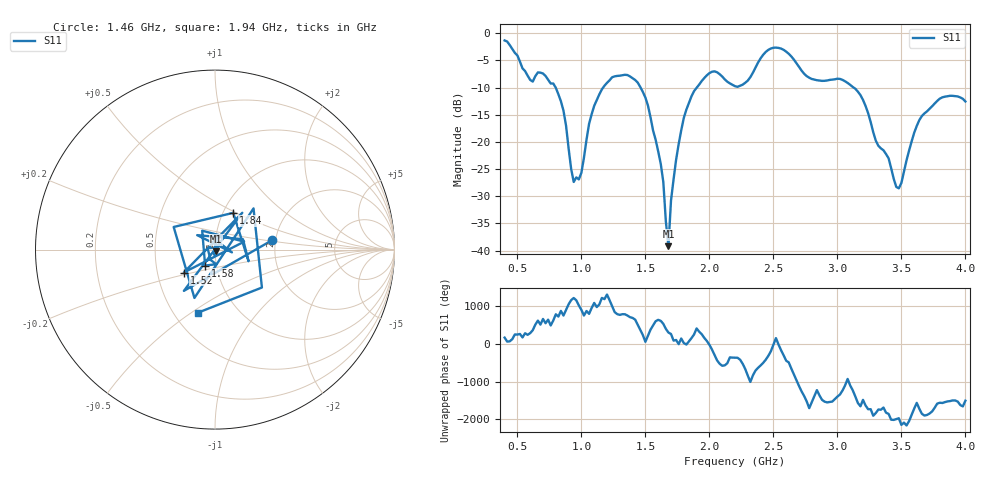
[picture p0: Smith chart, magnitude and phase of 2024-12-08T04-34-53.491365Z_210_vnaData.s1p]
!Created with skrf (http://scikit-rf.org).
# Hz S RI R 50.0
!freq ReS11 ImS11
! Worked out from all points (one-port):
!   181 points, 400 MHz to 4 GHz, reference 50 ohm
!   lowest |S11| = -39.2 dB at 1.68 GHz (marker M1), VSWR 1.02, Z = 50.5 - j0.981 ohm
!   |S11| at or under -10 dB: 798.8 MHz to 1.17 GHz (371.3 MHz wide, 37.7 % of centre); 1.462 GHz to 1.902 GHz (439.8 MHz wide, 26.1 % of centre); 3.126 GHz to end of sweep
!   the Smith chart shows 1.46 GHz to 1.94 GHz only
!   S11 on the Smith chart (normalised r, x): 1.46 GHz: 1.91, +0.22; 1.52 GHz: 0.68, -0.18; 1.58 GHz: 0.88, -0.16; 1.84 GHz: 1.12, +0.48; 1.94 GHz: 0.66, -0.53
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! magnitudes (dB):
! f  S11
! 400 MHz  -1.3
! 600 MHz  -8.6
! 780 MHz  -9.3
! 860 MHz  -14.3
! 940 MHz  -27.4
! 980 MHz  -26.9
! 1.1 GHz  -13.4
! 1.3 GHz  -7.8
! 1.46 GHz  -9.9
! 1.52 GHz  -13.3
! 1.58 GHz  -19.6
! 1.64 GHz  -27.4
! 1.68 GHz  -39.2
! 1.7 GHz  -30.8
! 1.76 GHz  -20.4
! 1.84 GHz  -12.8
! 1.94 GHz  -8.8
! 2.04 GHz  -7.0
! 2.2 GHz  -9.8
! 2.48 GHz  -2.8
! 2.66 GHz  -4.9
! 3.1 GHz  -9.5
! 3.2 GHz  -12.3
! 3.46 GHz  -28.3
! 3.56 GHz  -21.6
! 3.64 GHz  -16.0
! 3.8 GHz  -12.1
! 4 GHz  -12.6
